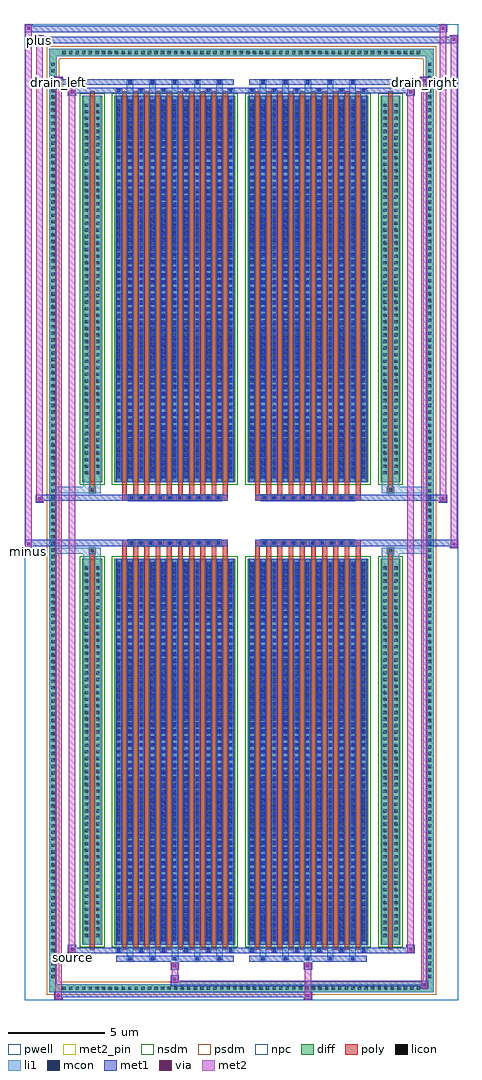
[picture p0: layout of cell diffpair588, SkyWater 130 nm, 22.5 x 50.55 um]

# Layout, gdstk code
import gdstk
lib = gdstk.Library(unit=1e-6, precision=5e-09)
def R(c, l, rs):  # rectangles x0, y0, x1, y1
    for r in rs: c.add(gdstk.rectangle(r[:2], r[2:], *l))
def A(c, l, x, y, w, h, nx, ny, dx, dy):  # array of equal rectangles
    R(c, l, [(x+i*dx, y+j*dy, x+i*dx+w, y+j*dy+h) for i in range(nx) for j in range(ny)])
def P(c, l, *ps):  # polygons
    for p in ps: c.add(gdstk.Polygon(p, *l))
pwell = (64, 44)
diff = (65, 20)
poly = (66, 20)
licon = (66, 44)
li1 = (67, 20)
mcon = (67, 44)
met1 = (68, 20)
via = (68, 44)
met2_pin = (69, 16)
met2 = (69, 20)
nsdm = (93, 44)
psdm = (94, 20)
npc = (95, 20)

diffpair588 = lib.new_cell('diffpair588')
R(diffpair588, pwell, [(-11.23,-24.84,11.23,25.71), (-8.55,-23.03,-0.01,-0.805), (0.01,-23.03,8.55,-0.805), (-8.55,0.805,-0.01,23.03), (0.01,0.805,8.55,23.03)])
A(diffpair588, diff, -9.385, -24.44, 0.41, 0.41, 55, 2, 0.34, 48.47)
A(diffpair588, diff, -9.96, -23.835, 0.41, 0.41, 1, 140, 0, 0.34)
A(diffpair588, diff, 9.55, -23.835, 0.41, 0.41, 1, 140, 0, 0.34)
R(diffpair588, diff, [(-9.385,-24.44,9.385,-24.03), (-9.96,-23.835,-9.55,23.835), (9.55,-23.835,9.96,23.835), (-8.24,-21.985,-7.21,-1.985), (-6.57,-21.985,-0.32,-1.985), (0.32,-21.985,6.57,-1.985), (7.21,-21.985,8.24,-1.985), (-8.24,1.985,-7.21,21.985), (-6.57,1.985,-0.32,21.985), (0.32,1.985,6.57,21.985), (7.21,1.985,8.24,21.985), (-9.385,24.03,9.385,24.44)])
P(diffpair588, diff, [(9.96,24.44),(-9.96,24.44),(-9.96,-24.03),(-9.55,-24.03),(-9.55,24.03),(9.55,24.03),(9.55,-24.03),(-9.55,-24.03),(-9.96,-24.03),(-9.96,-24.44),(9.96,-24.44)])
A(diffpair588, poly, -6.18, -22.235, 0.25, 20.5, 10, 2, 0.58, 23.97)
A(diffpair588, poly, 0.71, -22.235, 0.25, 20.5, 10, 2, 0.58, 23.97)
A(diffpair588, poly, -6.18, -1.735, 0.25, 0.4, 10, 2, 0.58, 3.07)
A(diffpair588, poly, 0.71, -1.735, 0.25, 0.4, 10, 2, 0.58, 3.07)
A(diffpair588, poly, -5.86, -1.335, 0.33, 0.33, 10, 2, 0.5, 2.34)
A(diffpair588, poly, 1.03, -1.335, 0.33, 0.33, 10, 2, 0.5, 2.34)
R(diffpair588, poly, [(-7.85,-22.235,-7.6,-1.735), (7.6,-22.235,7.85,-1.735), (-7.89,-1.735,-7.56,-1.405), (-7.89,-1.735,-7.56,-1.405), (7.56,-1.735,7.89,-1.405), (7.56,-1.735,7.89,-1.405), (-6.18,-1.335,-0.71,-1.005), (0.71,-1.335,6.18,-1.005), (-6.18,1.005,-0.71,1.335), (0.71,1.005,6.18,1.335), (-7.89,1.405,-7.56,1.735), (-7.89,1.405,-7.56,1.735), (7.56,1.405,7.89,1.735), (7.56,1.405,7.89,1.735), (-7.85,1.735,-7.6,22.235), (7.6,1.735,7.85,22.235)])
A(diffpair588, licon, -9.265, -24.32, 0.17, 0.17, 55, 2, 0.34, 48.47)
A(diffpair588, licon, -9.84, -23.715, 0.17, 0.17, 1, 140, 0, 0.34)
A(diffpair588, licon, 9.67, -23.715, 0.17, 0.17, 1, 140, 0, 0.34)
A(diffpair588, licon, -8.1, -21.59, 0.17, 0.17, 1, 57, 0, 0.34)
A(diffpair588, licon, -7.52, -21.59, 0.17, 0.17, 1, 57, 0, 0.34)
A(diffpair588, licon, -6.43, -21.59, 0.17, 0.17, 11, 57, 0.58, 0.34)
A(diffpair588, licon, 0.46, -21.59, 0.17, 0.17, 11, 57, 0.58, 0.34)
A(diffpair588, licon, 7.35, -21.59, 0.17, 0.17, 1, 57, 0, 0.34)
A(diffpair588, licon, 7.93, -21.59, 0.17, 0.17, 1, 57, 0, 0.34)
A(diffpair588, licon, -5.78, -1.255, 0.17, 0.17, 10, 2, 0.5, 2.34)
A(diffpair588, licon, 1.11, -1.255, 0.17, 0.17, 10, 2, 0.5, 2.34)
A(diffpair588, licon, -8.1, 2.38, 0.17, 0.17, 1, 57, 0, 0.34)
A(diffpair588, licon, -7.52, 2.38, 0.17, 0.17, 1, 57, 0, 0.34)
A(diffpair588, licon, -6.43, 2.38, 0.17, 0.17, 11, 57, 0.58, 0.34)
A(diffpair588, licon, 0.46, 2.38, 0.17, 0.17, 11, 57, 0.58, 0.34)
A(diffpair588, licon, 7.35, 2.38, 0.17, 0.17, 1, 57, 0, 0.34)
A(diffpair588, licon, 7.93, 2.38, 0.17, 0.17, 1, 57, 0, 0.34)
R(diffpair588, licon, [(-7.81,-1.655,-7.64,-1.485), (7.64,-1.655,7.81,-1.485), (-7.81,1.485,-7.64,1.655), (7.64,1.485,7.81,1.655)])
A(diffpair588, li1, -9.345, -24.4, 0.33, 0.33, 55, 2, 0.34, 48.47)
A(diffpair588, li1, -9.92, -23.795, 0.33, 0.33, 1, 140, 0, 0.34)
A(diffpair588, li1, 9.59, -23.795, 0.33, 0.33, 1, 140, 0, 0.34)
A(diffpair588, li1, -5.93, -22.79, 0.33, 0.805, 5, 2, 1.16, 44.775)
A(diffpair588, li1, -5.85, -22.79, 0.17, 0.17, 5, 2, 1.16, 45.41)
A(diffpair588, li1, 0.96, -22.79, 0.33, 0.805, 5, 2, 1.16, 44.775)
A(diffpair588, li1, 1.04, -22.79, 0.17, 0.17, 5, 2, 1.16, 45.41)
A(diffpair588, li1, -6.51, -22.36, 0.33, 0.375, 6, 2, 1.16, 44.345)
A(diffpair588, li1, -6.43, -22.36, 0.17, 0.17, 6, 2, 1.16, 44.55)
A(diffpair588, li1, 0.38, -22.36, 0.33, 0.375, 6, 2, 1.16, 44.345)
A(diffpair588, li1, 0.46, -22.36, 0.17, 0.17, 6, 2, 1.16, 44.55)
A(diffpair588, li1, -6.51, -21.985, 0.33, 20, 11, 2, 0.58, 23.97)
A(diffpair588, li1, 0.38, -21.985, 0.33, 20, 11, 2, 0.58, 23.97)
A(diffpair588, li1, -6.43, -21.79, 0.17, 0.17, 11, 55, 0.58, 0.36)
A(diffpair588, li1, -6.43, -21.79, 0.17, 19.61, 11, 2, 0.58, 23.97)
A(diffpair588, li1, 0.46, -21.79, 0.17, 0.17, 11, 55, 0.58, 0.36)
A(diffpair588, li1, 0.46, -21.79, 0.17, 19.61, 11, 2, 0.58, 23.97)
A(diffpair588, li1, -8.18, -21.67, 0.33, 0.33, 1, 57, 0, 0.34)
A(diffpair588, li1, -7.6, -21.67, 0.33, 0.33, 1, 57, 0, 0.34)
A(diffpair588, li1, -6.51, -21.67, 0.33, 0.33, 11, 57, 0.58, 0.34)
A(diffpair588, li1, 0.38, -21.67, 0.33, 0.33, 11, 57, 0.58, 0.34)
A(diffpair588, li1, 7.27, -21.67, 0.33, 0.33, 1, 57, 0, 0.34)
A(diffpair588, li1, 7.85, -21.67, 0.33, 0.33, 1, 57, 0, 0.34)
A(diffpair588, li1, -5.86, -1.335, 0.33, 0.33, 10, 2, 0.5, 2.34)
A(diffpair588, li1, 1.03, -1.335, 0.33, 0.33, 10, 2, 0.5, 2.34)
A(diffpair588, li1, -6.43, 2.18, 0.17, 0.17, 11, 55, 0.58, 0.36)
A(diffpair588, li1, 0.46, 2.18, 0.17, 0.17, 11, 55, 0.58, 0.36)
A(diffpair588, li1, -8.18, 2.3, 0.33, 0.33, 1, 57, 0, 0.34)
A(diffpair588, li1, -7.6, 2.3, 0.33, 0.33, 1, 57, 0, 0.34)
A(diffpair588, li1, -6.51, 2.3, 0.33, 0.33, 11, 57, 0.58, 0.34)
A(diffpair588, li1, 0.38, 2.3, 0.33, 0.33, 11, 57, 0.58, 0.34)
A(diffpair588, li1, 7.27, 2.3, 0.33, 0.33, 1, 57, 0, 0.34)
A(diffpair588, li1, 7.85, 2.3, 0.33, 0.33, 1, 57, 0, 0.34)
R(diffpair588, li1, [(-9.96,-24.44,-9.55,-24.03), (-9.96,-24.44,-9.55,-24.03), (-9.55,-24.44,9.55,-24.03), (9.55,-24.44,9.96,-24.03), (9.55,-24.44,9.96,-24.03), (-9.96,-24.03,-9.55,24.03), (9.55,-24.03,9.96,24.03), (-8.18,-21.985,-7.85,-1.985), (-7.6,-21.985,-7.27,-1.985), (7.27,-21.985,7.6,-1.985), (7.85,-21.985,8.18,-1.985), (-8.18,-1.985,-7.85,-1.405), (-7.6,-1.985,-7.27,-1.405), (7.27,-1.985,7.6,-1.405), (7.85,-1.985,8.18,-1.405), (-9.96,-1.735,-7.89,-1.405), (-8.18,-1.735,-7.89,-1.405), (-7.89,-1.735,-7.56,-1.405), (-7.56,-1.735,-7.27,-1.405), (7.27,-1.735,7.56,-1.405), (7.56,-1.735,7.89,-1.405), (7.56,-1.735,9.96,-1.405), (7.89,-1.735,8.18,-1.405), (-9.96,1.405,-7.89,1.735), (-8.18,1.405,-7.89,1.735), (-8.18,1.405,-7.85,1.985), (-7.89,1.405,-7.56,1.735), (-7.6,1.405,-7.27,1.985), (-7.56,1.405,-7.27,1.735), (7.27,1.405,7.56,1.735), (7.27,1.405,7.6,1.985), (7.56,1.405,7.89,1.735), (7.56,1.405,9.96,1.735), (7.85,1.405,8.18,1.985), (7.89,1.405,8.18,1.735), (-8.18,1.985,-7.85,21.985), (-7.6,1.985,-7.27,21.985), (7.27,1.985,7.6,21.985), (7.85,1.985,8.18,21.985), (-9.96,24.03,-9.55,24.44), (-9.96,24.03,-9.55,24.44), (-9.55,24.03,9.55,24.44), (9.55,24.03,9.96,24.44), (9.55,24.03,9.96,24.44)])
A(diffpair588, mcon, -5.85, -22.79, 0.17, 0.17, 5, 2, 1.16, 45.41)
A(diffpair588, mcon, 1.04, -22.79, 0.17, 0.17, 5, 2, 1.16, 45.41)
A(diffpair588, mcon, -6.43, -22.36, 0.17, 0.17, 6, 2, 1.16, 44.55)
A(diffpair588, mcon, 0.46, -22.36, 0.17, 0.17, 6, 2, 1.16, 44.55)
A(diffpair588, mcon, -6.43, -21.79, 0.17, 0.17, 11, 55, 0.58, 0.36)
A(diffpair588, mcon, 0.46, -21.79, 0.17, 0.17, 11, 55, 0.58, 0.36)
A(diffpair588, mcon, -5.78, -1.255, 0.17, 0.17, 10, 2, 0.5, 2.34)
A(diffpair588, mcon, 1.11, -1.255, 0.17, 0.17, 10, 2, 0.5, 2.34)
A(diffpair588, mcon, -6.43, 2.18, 0.17, 0.17, 11, 55, 0.58, 0.36)
A(diffpair588, mcon, 0.46, 2.18, 0.17, 0.17, 11, 55, 0.58, 0.36)
A(diffpair588, met1, -5.91, -22.85, 0.29, 0.29, 5, 2, 1.16, 45.41)
A(diffpair588, met1, 0.98, -22.85, 0.29, 0.29, 5, 2, 1.16, 45.41)
A(diffpair588, met1, -6.49, -22.42, 0.29, 0.29, 6, 2, 1.16, 44.55)
A(diffpair588, met1, 0.4, -22.42, 0.29, 0.29, 6, 2, 1.16, 44.55)
A(diffpair588, met1, -6.49, -21.985, 0.29, 20, 11, 2, 0.58, 23.97)
A(diffpair588, met1, 0.4, -21.985, 0.29, 20, 11, 2, 0.58, 23.97)
A(diffpair588, met1, -6.49, -21.85, 0.29, 0.29, 11, 55, 0.58, 0.36)
A(diffpair588, met1, 0.4, -21.85, 0.29, 0.29, 11, 55, 0.58, 0.36)
A(diffpair588, met1, -5.84, -1.315, 0.29, 0.29, 10, 2, 0.5, 2.34)
A(diffpair588, met1, 1.05, -1.315, 0.29, 0.29, 10, 2, 0.5, 2.34)
A(diffpair588, met1, -6.49, 2.12, 0.29, 0.29, 11, 55, 0.58, 0.36)
A(diffpair588, met1, 0.4, 2.12, 0.29, 0.29, 11, 55, 0.58, 0.36)
R(diffpair588, met1, [(-9.69,-24.84,-9.26,-24.41), (3.23,-24.84,3.66,-24.41), (-9.69,-24.7,3.66,-24.41), (9.26,-24.27,9.69,-23.84), (-3.66,-24.13,9.69,-23.84), (-3.66,-23.99,-3.23,-23.56), (-3.66,-23.28,-3.23,-22.85), (3.23,-23.28,3.66,-22.85), (-6.49,-22.85,-0.4,-22.56), (0.4,-22.85,6.49,-22.56), (-8.98,-22.42,-8.55,-21.99), (-8.98,-22.42,-6.49,-22.13), (-6.49,-22.42,-0.4,-22.13), (-0.4,-22.42,0.4,-22.13), (0.4,-22.42,6.49,-22.13), (6.49,-22.42,8.98,-22.13), (8.55,-22.42,8.98,-21.99), (-11.23,-1.435,-10.8,-1.005), (10.8,-1.435,11.23,-1.005), (-11.23,-1.335,-0.71,-1.005), (-6.18,-1.335,-0.71,-1.005), (0.71,-1.335,6.18,-1.005), (0.71,-1.335,11.23,-1.005), (-10.66,0.905,-10.23,1.335), (10.23,0.905,10.66,1.335), (-10.66,1.005,-6.18,1.335), (-6.18,1.005,-0.71,1.335), (0.71,1.005,6.18,1.335), (6.18,1.005,10.66,1.335), (-8.98,21.99,-8.55,22.42), (8.55,21.99,8.98,22.42), (-8.98,22.13,-6.49,22.42), (-6.49,22.13,-0.4,22.42), (-0.4,22.13,0.4,22.42), (0.4,22.13,6.49,22.42), (6.49,22.13,8.98,22.42), (-9.69,22.56,-9.26,22.99), (-9.69,22.56,-6.49,22.85), (-6.49,22.56,-0.4,22.85), (0.4,22.56,6.49,22.85), (6.49,22.56,9.69,22.85), (9.26,22.56,9.69,22.99), (-10.66,24.71,-10.23,25.14), (-10.66,24.71,-8.55,25.04), (-8.55,24.71,8.55,25.04), (8.55,24.71,11.23,25.04), (10.8,24.71,11.23,25.14), (-11.23,25.28,-10.8,25.71), (-11.23,25.28,-8.55,25.61), (-8.55,25.28,8.55,25.61), (8.55,25.28,10.66,25.61), (10.23,25.28,10.66,25.71)])
R(diffpair588, via, [(-9.55,-24.7,-9.4,-24.55), (3.37,-24.7,3.52,-24.55), (9.4,-24.13,9.55,-23.98), (-3.52,-23.85,-3.37,-23.7), (-3.52,-23.14,-3.37,-22.99), (3.37,-23.14,3.52,-22.99), (-8.84,-22.28,-8.69,-22.13), (8.69,-22.28,8.84,-22.13), (-11.09,-1.295,-10.94,-1.145), (10.94,-1.295,11.09,-1.145), (-10.52,1.045,-10.37,1.195), (10.37,1.045,10.52,1.195), (-8.84,22.13,-8.69,22.28), (8.69,22.13,8.84,22.28), (-9.55,22.7,-9.4,22.85), (9.4,22.7,9.55,22.85), (-10.52,24.85,-10.37,25), (10.94,24.85,11.09,25), (-11.09,25.42,-10.94,25.57), (10.37,25.42,10.52,25.57)])
R(diffpair588, met2_pin, [(-9.015,-22.87,-8.515,-22.37), (-11.265,-1.885,-10.765,-1.385), (-9.725,22.44,-9.225,22.94), (9.225,22.44,9.725,22.94), (-10.695,24.59,-10.195,25.09)])
R(diffpair588, met2, [(-9.64,-24.79,-9.31,-24.46), (-9.64,-24.79,-9.31,22.94), (3.28,-24.79,3.61,-24.46), (3.28,-24.46,3.61,-23.23), (9.31,-24.22,9.64,-23.89), (9.31,-24.22,9.64,22.94), (-3.61,-23.94,-3.28,-23.61), (-3.61,-23.61,-3.28,-23.23), (-3.61,-23.23,-3.28,-22.9), (3.28,-23.23,3.61,-22.9), (-8.93,-22.37,-8.6,-22.04), (-8.93,-22.37,-8.6,22.37), (8.6,-22.37,8.93,-22.04), (8.6,-22.37,8.93,22.37), (-11.18,-1.385,-10.85,-1.055), (-11.18,-1.385,-10.85,25.66), (10.85,-1.385,11.18,-1.055), (10.85,-1.385,11.18,25.09), (-10.61,0.955,-10.28,1.285), (-10.61,0.955,-10.28,25.09), (10.28,0.955,10.61,1.285), (10.28,0.955,10.61,25.66), (-8.93,22.04,-8.6,22.37), (8.6,22.04,8.93,22.37), (-9.64,22.61,-9.31,22.94), (9.31,22.61,9.64,22.94), (-10.61,24.76,-10.28,25.09), (10.85,24.76,11.18,25.09), (-11.18,25.33,-10.85,25.66), (10.28,25.33,10.61,25.66)])
P(diffpair588, met2, [(11.18,-1.385),(11.18,-1.385),(11.18,-1.055),(11.18,-1.055)],
  [(11.18,24.76),(11.18,24.76),(11.18,25.09),(11.18,25.09)],
  [(-10.85,-1.385),(-10.85,-1.385),(-10.85,-1.055),(-10.85,-1.055)],
  [(-10.85,25.33),(-10.85,25.33),(-10.85,25.66),(-10.85,25.66)],
  [(10.61,0.955),(10.61,0.955),(10.61,1.285),(10.61,1.285)],
  [(10.61,25.33),(10.61,25.33),(10.61,25.66),(10.61,25.66)],
  [(-10.28,0.955),(-10.28,0.955),(-10.28,1.285),(-10.28,1.285)],
  [(-10.28,24.76),(-10.28,24.76),(-10.28,25.09),(-10.28,25.09)],
  [(-9.31,-24.79),(-9.31,-24.79),(-9.31,-24.46),(-9.31,-24.46)],
  [(-9.31,22.61),(-9.31,22.61),(-9.31,22.94),(-9.31,22.94)],
  [(9.64,-24.22),(9.64,-24.22),(9.64,-23.89),(9.64,-23.89)],
  [(9.64,22.61),(9.64,22.61),(9.64,22.94),(9.64,22.94)],
  [(-8.6,-22.37),(-8.6,-22.37),(-8.6,-22.04),(-8.6,-22.04)],
  [(-8.6,22.04),(-8.6,22.04),(-8.6,22.37),(-8.6,22.37)],
  [(8.93,-22.37),(8.93,-22.37),(8.93,-22.04),(8.93,-22.04)],
  [(8.93,22.04),(8.93,22.04),(8.93,22.37),(8.93,22.37)])
R(diffpair588, nsdm, [(-8.37,-22.115,-7.08,-1.855), (-6.7,-22.115,-0.19,-1.855), (0.19,-22.115,6.7,-1.855), (7.08,-22.115,8.37,-1.855), (-8.37,1.855,-7.08,22.115), (-6.7,1.855,-0.19,22.115), (0.19,1.855,6.7,22.115), (7.08,1.855,8.37,22.115)])
P(diffpair588, psdm, [(10.09,24.57),(-10.09,24.57),(-10.09,-23.9),(-9.42,-23.9),(-9.42,23.9),(9.42,23.9),(9.42,-23.9),(-9.42,-23.9),(-10.09,-23.9),(-10.09,-24.57),(10.09,-24.57)])
A(diffpair588, npc, -5.88, -1.355, 0.37, 0.37, 10, 2, 0.5, 2.34)
A(diffpair588, npc, 1.01, -1.355, 0.37, 0.37, 10, 2, 0.5, 2.34)
R(diffpair588, npc, [(-7.91,-1.755,-7.54,-1.385), (7.54,-1.755,7.91,-1.385), (-5.88,-1.355,-5.01,-0.985), (-5.88,-1.355,-5.01,-0.985), (-5.38,-1.355,-4.51,-0.985), (-5.38,-1.355,-4.51,-0.985), (-4.88,-1.355,-4.01,-0.985), (-4.88,-1.355,-4.01,-0.985), (-4.38,-1.355,-3.51,-0.985), (-4.38,-1.355,-3.51,-0.985), (-3.88,-1.355,-3.01,-0.985), (-3.88,-1.355,-3.01,-0.985), (-3.38,-1.355,-2.51,-0.985), (-3.38,-1.355,-2.51,-0.985), (-2.88,-1.355,-2.01,-0.985), (-2.88,-1.355,-2.01,-0.985), (-2.38,-1.355,-1.51,-0.985), (-2.38,-1.355,-1.51,-0.985), (-1.88,-1.355,-1.01,-0.985), (-1.88,-1.355,-1.01,-0.985), (1.01,-1.355,1.88,-0.985), (1.01,-1.355,1.88,-0.985), (1.51,-1.355,2.38,-0.985), (1.51,-1.355,2.38,-0.985), (2.01,-1.355,2.88,-0.985), (2.01,-1.355,2.88,-0.985), (2.51,-1.355,3.38,-0.985), (2.51,-1.355,3.38,-0.985), (3.01,-1.355,3.88,-0.985), (3.01,-1.355,3.88,-0.985), (3.51,-1.355,4.38,-0.985), (3.51,-1.355,4.38,-0.985), (4.01,-1.355,4.88,-0.985), (4.01,-1.355,4.88,-0.985), (4.51,-1.355,5.38,-0.985), (4.51,-1.355,5.38,-0.985), (5.01,-1.355,5.88,-0.985), (5.01,-1.355,5.88,-0.985), (-5.88,0.985,-5.01,1.355), (-5.88,0.985,-5.01,1.355), (-5.38,0.985,-4.51,1.355), (-5.38,0.985,-4.51,1.355), (-4.88,0.985,-4.01,1.355), (-4.88,0.985,-4.01,1.355), (-4.38,0.985,-3.51,1.355), (-4.38,0.985,-3.51,1.355), (-3.88,0.985,-3.01,1.355), (-3.88,0.985,-3.01,1.355), (-3.38,0.985,-2.51,1.355), (-3.38,0.985,-2.51,1.355), (-2.88,0.985,-2.01,1.355), (-2.88,0.985,-2.01,1.355), (-2.38,0.985,-1.51,1.355), (-2.38,0.985,-1.51,1.355), (-1.88,0.985,-1.01,1.355), (-1.88,0.985,-1.01,1.355), (1.01,0.985,1.88,1.355), (1.01,0.985,1.88,1.355), (1.51,0.985,2.38,1.355), (1.51,0.985,2.38,1.355), (2.01,0.985,2.88,1.355), (2.01,0.985,2.88,1.355), (2.51,0.985,3.38,1.355), (2.51,0.985,3.38,1.355), (3.01,0.985,3.88,1.355), (3.01,0.985,3.88,1.355), (3.51,0.985,4.38,1.355), (3.51,0.985,4.38,1.355), (4.01,0.985,4.88,1.355), (4.01,0.985,4.88,1.355), (4.51,0.985,5.38,1.355), (4.51,0.985,5.38,1.355), (5.01,0.985,5.88,1.355), (5.01,0.985,5.88,1.355), (-7.91,1.385,-7.54,1.755), (7.54,1.385,7.91,1.755)])
diffpair588.add(gdstk.Label('minus', (-11.015,-1.635), layer=69, texttype=5))
diffpair588.add(gdstk.Label('drain_right', (9.475,22.69), layer=69, texttype=5))
diffpair588.add(gdstk.Label('drain_left', (-9.475,22.69), layer=69, texttype=5))
diffpair588.add(gdstk.Label('source', (-8.765,-22.62), layer=69, texttype=5))
diffpair588.add(gdstk.Label('plus', (-10.445,24.84), layer=69, texttype=5))

lib.write_gds('diffpair588.gds')
